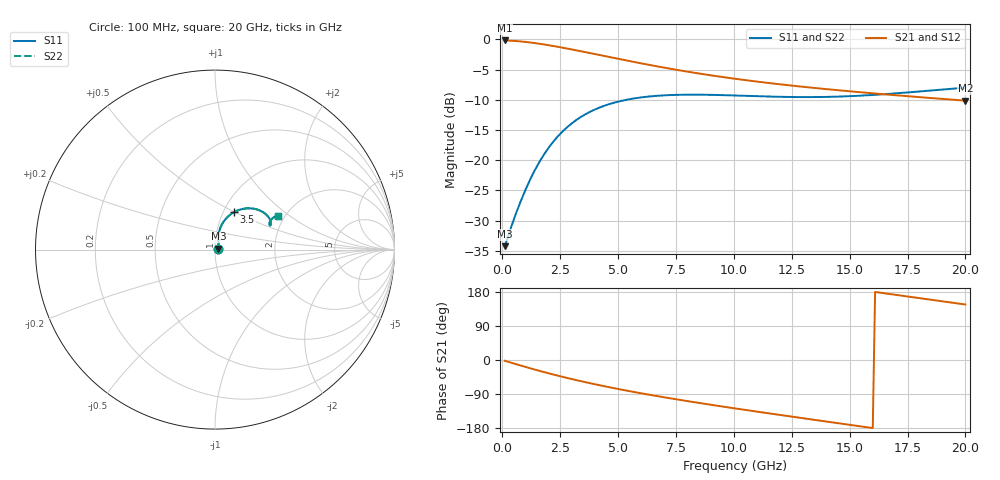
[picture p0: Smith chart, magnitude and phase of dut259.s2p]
! Touchstone file exported from HFSS 2024.1.0
!  File:  C:/UserFiles/LocalFiles/RDL_TSV_Batchsim/temp_RDL_TSV_259_1779458728.aedt
!  Generated:  10:23:33 PM May 22, 2026
!  Design:  RDL_TSV
!  Project:  temp_RDL_TSV_259_1779458728
!  Setup:  Setup1
!  Solution:  Sweep
! Variables:
!  dtsv = 8.91um
!  hbump = 3um
!  htsv = 78.74um
!  ldown = 138.53um
!  lrdl = 643.7um
!  p = 40
!  p1 = 54.85um
!  rhole = 10um
!  subl = 2990.39um
!  t = 450um
!  tdown = 4.24um
!  trdl = 3.38um
!  viad = 10um
!  wdown = 13.02um
!  wrdl = 17.56um
!  xbump = 18um
# GHz S MA R 50.000000
! Terminal data exported
! Port[1] = TM1_1_T1
! Port[2] = TM1_4_T1
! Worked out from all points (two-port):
!   200 points, 100 MHz to 20 GHz, reference 50 ohm
!   highest |S21| = -0.17 dB at 100 MHz (marker M1); lowest = -10.1 dB at 20 GHz (marker M2)
!   |S21| within 3 dB of the highest: start of sweep to 4.954 GHz
!   lowest |S11| = -34.2 dB at 100 MHz (marker M3), VSWR 1.04, Z = 51.9 + j0.574 ohm
!   |S11| at or under -10 dB: start of sweep to 5.349 GHz
!   |S22| runs from -34.2 to -8.0 dB; largest |S21 - S12| = 1e-14
!   S11 on the Smith chart (normalised r, x): 100 MHz: 1.04, +0.01; 3.5 GHz: 1.12, +0.50; 20 GHz: 1.84, +0.83
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0.1  0.01944 16.5  0.981 -1.9  0.981 -1.9  0.01944 16.5
! Gamma 0 0 0 0
! Port Impedance 50 0 50 0
0.5  0.03247 53.3  0.973 -9.3  0.973 -9.3  0.03247 53.3
0.9  0.05122 68.8  0.9586 -16.5  0.9586 -16.5  0.05122 68.8
1.3  0.07556 75.5  0.939 -23.5  0.939 -23.5  0.07555 75.5
1.7  0.104 77.0  0.9155 -30.3  0.9155 -30.3  0.104 77.0
2.1  0.1346 75.6  0.8895 -36.7  0.8895 -36.7  0.1346 75.6
2.5  0.1653 72.6  0.862 -42.9  0.862 -42.9  0.1654 72.7
3  0.2019 68.0  0.8267 -50.3  0.8267 -50.3  0.202 68.0
3.5  0.2347 62.9  0.7913 -57.3  0.7913 -57.3  0.2348 62.9
4.2  0.273 55.9  0.7432 -66.6  0.7432 -66.6  0.2732 56.0
4.9  0.3021 49.6  0.6979 -75.3  0.6979 -75.3  0.3023 49.6
5.8  0.3274 42.4  0.6448 -85.7  0.6448 -85.7  0.3276 42.5
6.8  0.3428 36.0  0.5932 -96.5  0.5932 -96.5  0.3431 36.1
7.6  0.3481 32.0  0.5574 -104.6  0.5574 -104.6  0.3485 32.0
8.4  0.3491 28.8  0.5259 -112.4  0.5259 -112.4  0.3495 28.9
10.1  0.3434 24.7  0.4713 -128.2  0.4713 -128.2  0.3438 24.8
11.7  0.3361 23.7  0.4316 -142.5  0.4316 -142.5  0.3365 23.7
13.4  0.3334 24.6  0.3981 -157.3  0.3981 -157.3  0.3337 24.6
15  0.3392 26.4  0.3723 -171.1  0.3723 -171.1  0.3395 26.3
16.7  0.3544 28.1  0.349 174.4  0.349 174.4  0.3547 28.0
18.4  0.3763 28.8  0.3286 159.9  0.3286 159.9  0.3764 28.8
20  0.399 28.4  0.3116 146.4  0.3116 146.4  0.3991 28.4
